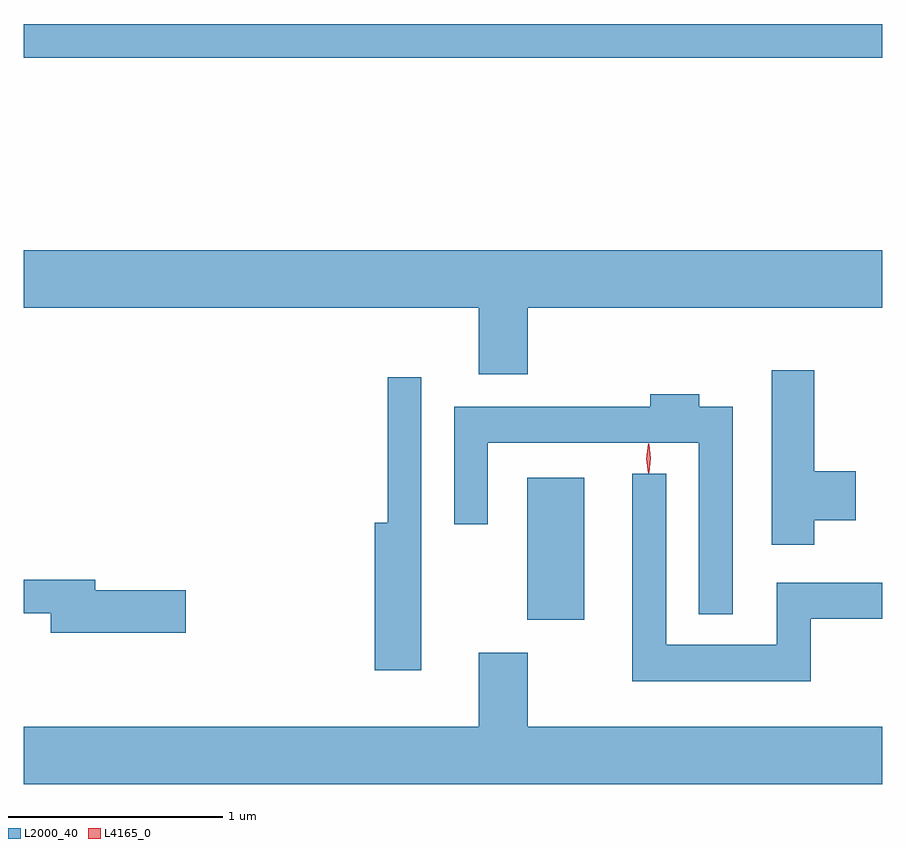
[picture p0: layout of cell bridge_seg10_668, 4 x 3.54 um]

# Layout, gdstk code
import gdstk
lib = gdstk.Library(unit=1e-6, precision=1e-09)
def R(c, l, rs):  # rectangles x0, y0, x1, y1
    for r in rs: c.add(gdstk.rectangle(r[:2], r[2:], *l))
def P(c, l, *ps):  # polygons
    for p in ps: c.add(gdstk.Polygon(p, *l))
L2000_40 = (2000, 40)
L4165_0 = (4165, 0)

bridge_seg10_668 = lib.new_cell('bridge_seg10_668')
R(bridge_seg10_668, L2000_40, [(990.046,2096.921,990.314,2097.584), (987.701,2099.541,991.701,2099.699)])
P(bridge_seg10_668, L2000_40, [(990.049,2098.376),(991.701,2098.376),(991.701,2098.644),(987.701,2098.644),(987.701,2098.376),(989.821,2098.376),(989.821,2098.066),(990.049,2098.066)],
  [(991.384,2097.386),(991.579,2097.386),(991.579,2097.614),(991.384,2097.614),(991.384,2098.084),(991.186,2098.084),(991.186,2097.271),(991.384,2097.271)],
  [(989.554,2098.053),(989.396,2098.053),(989.396,2097.374),(989.336,2097.374),(989.336,2096.686),(989.554,2096.686)],
  [(991.004,2097.914),(990.849,2097.914),(990.849,2097.974),(990.621,2097.974),(990.621,2097.914),(989.706,2097.914),(989.706,2097.368),(989.864,2097.368),(989.864,2097.746),(990.846,2097.746),(990.846,2096.948),(991.004,2096.948)],
  [(991.369,2096.926),(991.701,2096.926),(991.701,2097.094),(991.211,2097.094),(991.211,2096.804),(990.694,2096.804),(990.694,2097.603),(990.536,2097.603),(990.536,2096.636),(991.369,2096.636)],
  [(988.454,2097.059),(988.034,2097.059),(988.034,2097.109),(987.701,2097.109),(987.701,2096.951),(987.826,2096.951),(987.826,2096.861),(988.454,2096.861)],
  [(991.701,2096.424),(990.049,2096.424),(990.049,2096.769),(989.821,2096.769),(989.821,2096.424),(987.701,2096.424),(987.701,2096.156),(991.701,2096.156)])
P(bridge_seg10_668, L4165_0, [(990.612,2097.604),(990.612,2097.604),(990.602,2097.673),(990.612,2097.742),(990.612,2097.743),(990.613,2097.742),(990.622,2097.673),(990.613,2097.604)],
  [(990.614,2097.607),(990.614,2097.608),(990.604,2097.674),(990.614,2097.74),(990.614,2097.741),(990.615,2097.74),(990.624,2097.674),(990.615,2097.608)])

lib.write_gds('bridge_seg10_668.gds')
